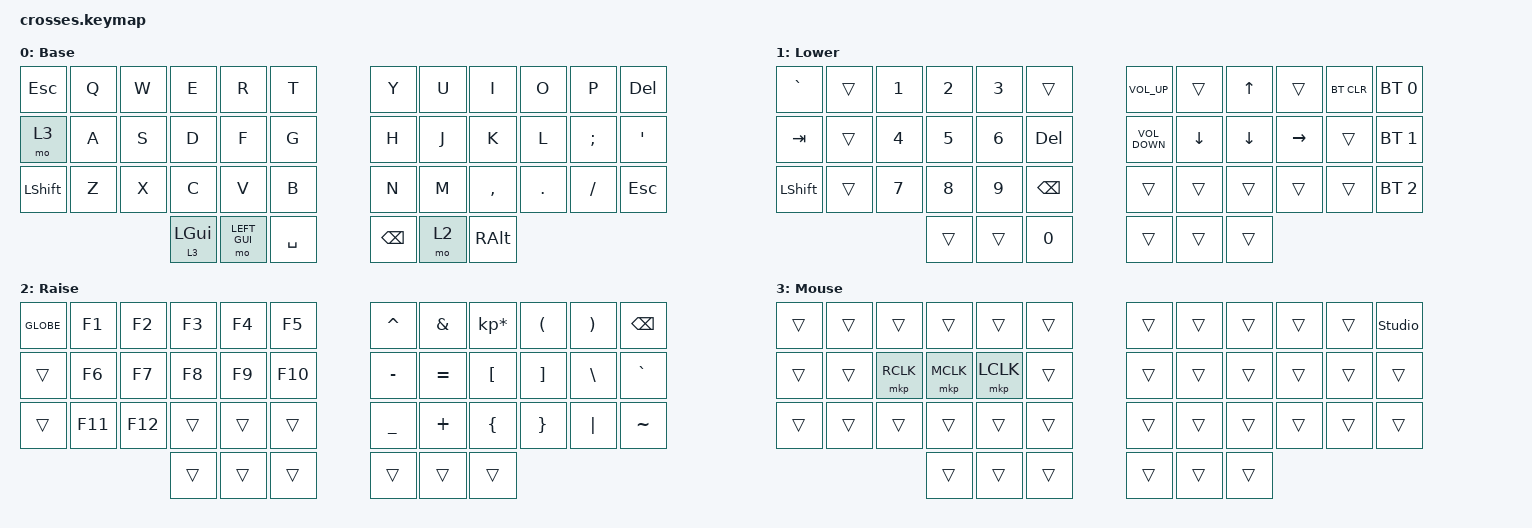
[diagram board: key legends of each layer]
#include <behaviors.dtsi>
#include <dt-bindings/zmk/bt.h>
#include <dt-bindings/zmk/keys.h>
#include <dt-bindings/zmk/pointing.h>
#include <dt-bindings/zmk/rgb.h>

/ {
    chosen { zmk,physical-layout = &gggw_crosses_42_layout; };

    keymap {
        compatible = "zmk,keymap";
        default_layer {
            display-name = "Base";
            bindings = <
                &kp ESC   &kp Q &kp W &kp E &kp R &kp T   &kp Y &kp U  &kp I     &kp O   &kp P    &kp DELETE
                &mo 3 &kp A &kp S &kp D &kp F &kp G   &kp H &kp J  &kp K     &kp L   &kp SEMI &kp SQT
                &kp LSHFT &kp Z &kp X &kp C &kp V &kp B   &kp N &kp M  &kp COMMA &kp DOT &kp FSLH &kp ESC
                            &lt 3 LGUI &mo LEFT_GUI &kp SPACE   &kp BACKSPACE &mo 2 &kp RALT
            >;
        };

        lower_layer {
            display-name = "Lower";
            bindings = <
                &kp GRAVE  &trans  &kp NUMBER_1  &kp NUMBER_2  &kp NUMBER_3  &trans         &kp C_VOLUME_UP    &trans    &kp UP_ARROW  &trans     &bt BT_CLR  &bt BT_SEL 0
                &kp TAB    &trans  &kp NUMBER_4  &kp N5        &kp NUMBER_6  &kp DELETE     &kp C_VOLUME_DOWN  &kp DOWN  &kp DOWN      &kp RIGHT  &trans      &bt BT_SEL 1
                &kp LSHFT  &trans  &kp N7        &kp N8        &kp N9        &kp BACKSPACE  &trans             &trans    &trans        &trans     &trans      &bt BT_SEL 2
                                 &trans        &trans        &kp N0         &trans             &trans    &trans

            >;
        };

        raise_layer {
            display-name = "Raise";
            bindings = <
                &kp GLOBE  &kp F1   &kp F2   &kp F3  &kp F4  &kp F5   &kp CARET  &kp AMPS   &kp KP_MULTIPLY  &kp LPAR  &kp RPAR  &kp BSPC
                &trans     &kp F6   &kp F7   &kp F8  &kp F9  &kp F10  &kp MINUS  &kp EQUAL  &kp LBKT         &kp RBKT  &kp BSLH  &kp GRAVE
                &trans     &kp F11  &kp F12  &trans  &trans  &trans   &kp UNDER  &kp PLUS   &kp LBRC         &kp RBRC  &kp PIPE  &kp TILDE
                             &trans  &trans  &trans   &trans     &trans     &trans
            >;
        };

        mouse_layer {
            display-name = "Mouse";
            bindings = <
                &trans &trans  &trans     &trans     &trans     &trans      &trans  &trans  &trans  &trans  &trans &studio_unlock
                &trans &trans  &mkp RCLK  &mkp MCLK  &mkp LCLK  &trans      &trans  &trans  &trans  &trans  &trans &trans
                &trans &trans  &trans     &trans     &trans     &trans      &trans  &trans  &trans  &trans  &trans &trans
                                &trans     &trans     &trans  &trans        &trans  &trans
            >;
        };
    };
};
